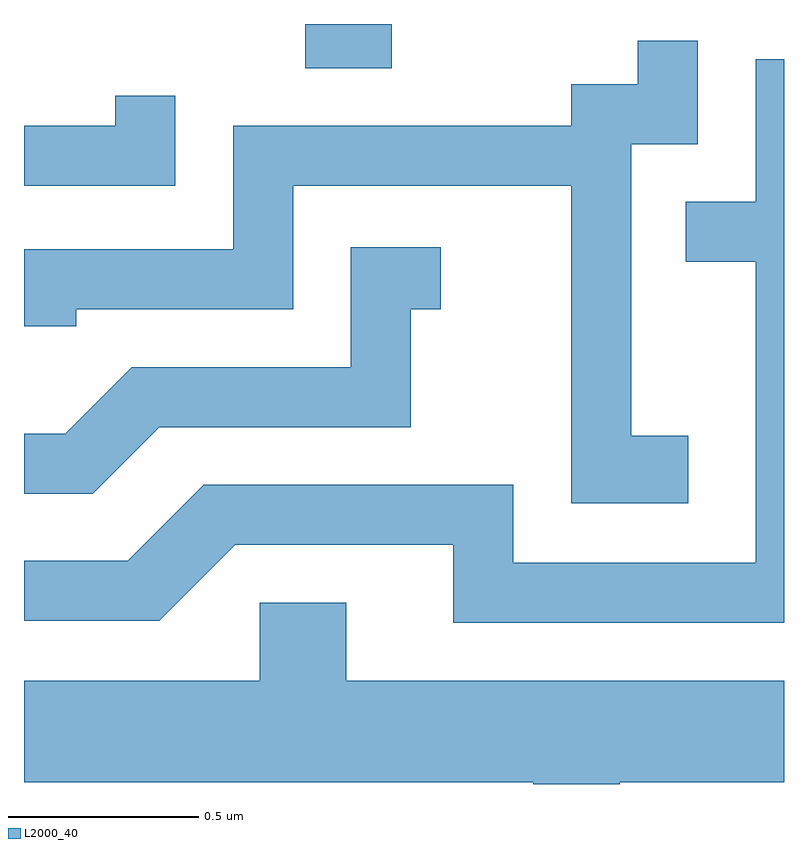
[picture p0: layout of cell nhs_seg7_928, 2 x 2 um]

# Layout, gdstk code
import gdstk
lib = gdstk.Library(unit=1e-6, precision=1e-09)
def R(c, l, rs):  # rectangles x0, y0, x1, y1
    for r in rs: c.add(gdstk.rectangle(r[:2], r[2:], *l))
def P(c, l, *ps):  # polygons
    for p in ps: c.add(gdstk.Polygon(p, *l))
L2000_40 = (2000, 40)

nhs_seg7_928 = lib.new_cell('nhs_seg7_928')
R(nhs_seg7_928, L2000_40, [(192.351,1776.136,192.579,1776.252)])
P(nhs_seg7_928, L2000_40, [(193.359,1775.169),(193.209,1775.169),(193.209,1775.936),(193.384,1775.936),(193.384,1776.208),(193.226,1776.208),(193.226,1776.094),(193.051,1776.094),(193.051,1775.984),(192.161,1775.984),(192.161,1775.659),(191.611,1775.659),(191.611,1775.456),(191.749,1775.456),(191.749,1775.501),(192.319,1775.501),(192.319,1775.826),(193.051,1775.826),(193.051,1774.991),(193.359,1774.991)],
  [(193.611,1776.159),(193.536,1776.159),(193.536,1775.784),(193.353,1775.784),(193.353,1775.626),(193.536,1775.626),(193.536,1774.834),(192.899,1774.834),(192.899,1775.039),(192.084,1775.039),(191.884,1774.839),(191.611,1774.839),(191.611,1774.681),(191.967,1774.681),(192.167,1774.881),(192.741,1774.881),(192.741,1774.676),(193.611,1774.676)],
  [(192.009,1776.063),(191.851,1776.063),(191.851,1775.984),(191.611,1775.984),(191.611,1775.826),(192.009,1775.826)],
  [(191.967,1775.191),(192.629,1775.191),(192.629,1775.501),(192.708,1775.501),(192.708,1775.664),(192.471,1775.664),(192.471,1775.349),(191.894,1775.349),(191.719,1775.174),(191.611,1775.174),(191.611,1775.016),(191.792,1775.016)],
  [(193.179,1774.256),(193.611,1774.256),(193.611,1774.524),(192.459,1774.524),(192.459,1774.729),(192.231,1774.729),(192.231,1774.524),(191.611,1774.524),(191.611,1774.256),(192.951,1774.256),(192.951,1774.252),(193.179,1774.252)])

lib.write_gds('nhs_seg7_928.gds')
